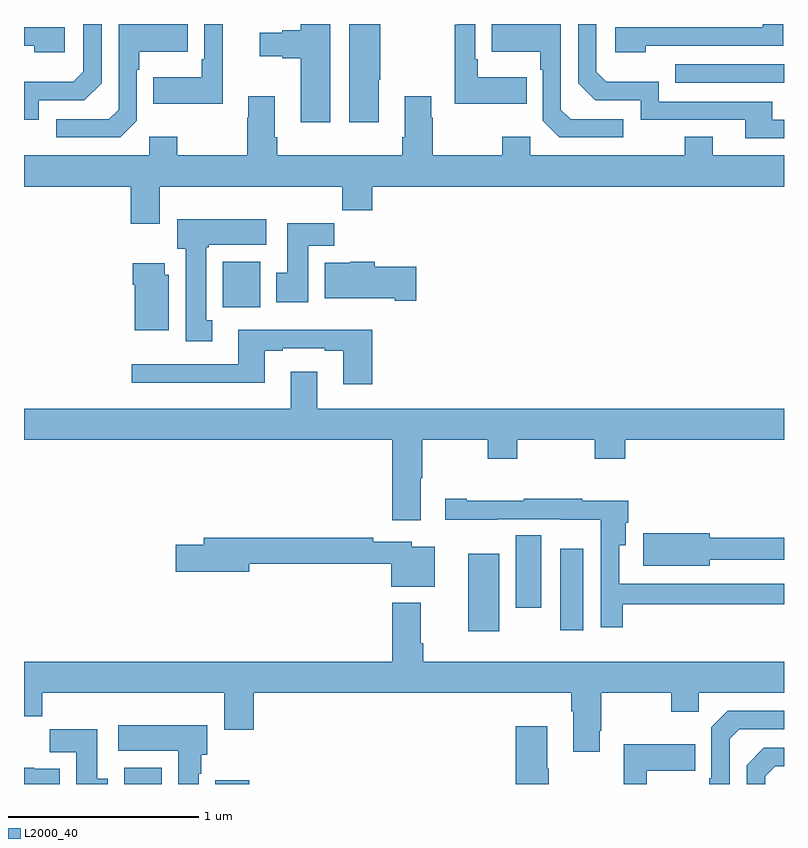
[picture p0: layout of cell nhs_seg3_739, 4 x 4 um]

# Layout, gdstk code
import gdstk
lib = gdstk.Library(unit=1e-6, precision=1e-09)
def R(c, l, rs):  # rectangles x0, y0, x1, y1
    for r in rs: c.add(gdstk.rectangle(r[:2], r[2:], *l))
def P(c, l, *ps):  # polygons
    for p in ps: c.add(gdstk.Polygon(p, *l))
L2000_40 = (2000, 40)

nhs_seg3_739 = lib.new_cell('nhs_seg3_739')
R(nhs_seg3_739, L2000_40, [(147.527,736.4,147.724,736.486), (148.007,736.4,148.186,736.42), (149.339,737.205,149.5,737.611), (149.822,737.208,149.944,737.638), (149.588,737.328,149.722,737.708), (148.046,738.908,148.243,739.15), (150.427,740.091,151,740.187)])
P(nhs_seg3_739, L2000_40, [(149.645,740.119),(149.389,740.119),(149.389,740.215),(149.376,740.215),(149.376,740.4),(149.279,740.4),(149.279,740.395),(149.268,740.395),(149.268,739.979),(149.645,739.979)],
  [(150.272,740.286),(150.996,740.286),(150.996,740.4),(150.887,740.4),(150.887,740.382),(150.111,740.382),(150.111,740.252),(150.272,740.252)],
  [(148.046,740.4),(147.948,740.4),(147.948,740.215),(147.936,740.215),(147.936,740.119),(147.679,740.119),(147.679,739.979),(148.046,739.979)],
  [(147.078,739.998),(147.318,739.998),(147.408,740.088),(147.408,740.4),(147.312,740.4),(147.312,740.148),(147.259,740.095),(147,740.095),(147,739.896),(147.078,739.896)],
  [(148.612,740.4),(148.457,740.4),(148.457,740.366),(148.358,740.366),(148.358,740.353),(148.242,740.353),(148.242,740.231),(148.358,740.231),(148.358,740.219),(148.457,740.219),(148.457,739.884),(148.612,739.884)],
  [(151,739.896),(150.937,739.896),(150.937,739.992),(150.342,739.992),(150.342,740.095),(150.065,740.095),(150.012,740.148),(150.012,740.4),(149.916,740.4),(149.916,740.088),(150.006,739.998),(150.246,739.998),(150.246,739.896),(150.797,739.896),(150.797,739.8),(151,739.8)],
  [(148.867,740.107),(148.875,740.107),(148.875,740.4),(148.712,740.4),(148.712,739.884),(148.867,739.884)],
  [(147.594,739.89),(147.594,740.159),(147.607,740.159),(147.607,740.255),(147.863,740.255),(147.863,740.4),(147.498,740.4),(147.498,739.95),(147.447,739.899),(147.171,739.899),(147.171,739.803),(147.507,739.803)],
  [(150.154,739.899),(149.877,739.899),(149.826,739.95),(149.826,740.4),(149.461,740.4),(149.461,740.255),(149.718,740.255),(149.718,740.159),(149.73,740.159),(149.73,739.89),(149.817,739.803),(150.154,739.803)],
  [(147.214,740.382),(147,740.382),(147,740.286),(147.053,740.286),(147.053,740.252),(147.214,740.252)],
  [(147.715,739.544),(148.675,739.544),(148.675,739.42),(148.832,739.42),(148.832,739.544),(151,739.544),(151,739.708),(150.625,739.708),(150.625,739.807),(150.478,739.807),(150.478,739.708),(149.664,739.708),(149.664,739.807),(149.518,739.807),(149.518,739.708),(149.151,739.708),(149.151,739.907),(149.143,739.907),(149.143,740.02),(149.003,740.02),(149.003,739.804),(148.991,739.804),(148.991,739.708),(148.334,739.708),(148.334,739.804),(148.321,739.804),(148.321,740.02),(148.181,740.02),(148.181,739.907),(148.174,739.907),(148.174,739.708),(147.807,739.708),(147.807,739.807),(147.66,739.807),(147.66,739.708),(147,739.708),(147,739.544),(147.563,739.544),(147.563,739.35),(147.715,739.35)],
  [(147.991,738.842),(147.958,738.842),(147.958,739.225),(147.972,739.225),(147.972,739.238),(148.276,739.238),(148.276,739.372),(147.806,739.372),(147.806,739.218),(147.851,739.218),(147.851,738.729),(147.991,738.729)],
  [(148.495,739.232),(148.634,739.232),(148.634,739.351),(148.385,739.351),(148.385,739.092),(148.328,739.092),(148.328,738.936),(148.495,738.936)],
  [(149.065,739.122),(148.847,739.122),(148.847,739.15),(148.716,739.15),(148.716,739.144),(148.583,739.144),(148.583,738.956),(148.952,738.956),(148.952,738.944),(149.065,738.944)],
  [(147.763,739.08),(147.742,739.08),(147.742,739.141),(147.572,739.141),(147.572,739.028),(147.584,739.028),(147.584,738.788),(147.763,738.788)],
  [(148.832,738.79),(148.127,738.79),(148.127,738.609),(147.567,738.609),(147.567,738.512),(148.267,738.512),(148.267,738.681),(148.363,738.681),(148.363,738.693),(148.583,738.693),(148.583,738.681),(148.679,738.681),(148.679,738.504),(148.832,738.504)],
  [(149.089,738.008),(149.097,738.008),(149.097,738.212),(149.44,738.212),(149.44,738.113),(149.595,738.113),(149.595,738.212),(150.004,738.212),(150.004,738.113),(150.164,738.113),(150.164,738.212),(151,738.212),(151,738.376),(148.543,738.376),(148.543,738.571),(148.403,738.571),(148.403,738.376),(147,738.376),(147,738.212),(148.937,738.212),(148.937,737.787),(149.089,737.787)],
  [(150.152,737.346),(151,737.346),(151,737.454),(150.132,737.454),(150.132,737.657),(150.166,737.657),(150.166,737.774),(150.179,737.774),(150.179,737.892),(149.939,737.892),(149.939,737.902),(149.629,737.902),(149.629,737.892),(149.329,737.892),(149.329,737.902),(149.217,737.902),(149.217,737.792),(149.492,737.792),(149.492,737.793),(149.826,737.793),(149.826,737.792),(150.036,737.792),(150.036,737.226),(150.152,737.226)],
  [(150.61,737.58),(151,737.58),(151,737.696),(150.61,737.696),(150.61,737.72),(150.258,737.72),(150.258,737.549),(150.61,737.549)],
  [(149.161,737.65),(149.04,737.65),(149.04,737.676),(148.838,737.676),(148.838,737.696),(147.947,737.696),(147.947,737.66),(147.798,737.66),(147.798,737.518),(148.186,737.518),(148.186,737.56),(148.934,737.56),(148.934,737.438),(149.161,737.438)],
  [(150.031,736.681),(150.039,736.681),(150.039,736.88),(150.406,736.88),(150.406,736.781),(150.552,736.781),(150.552,736.88),(151,736.88),(151,737.044),(149.102,737.044),(149.102,737.14),(149.089,737.14),(149.089,737.353),(148.937,737.353),(148.937,737.044),(147,737.044),(147,736.756),(147.095,736.756),(147.095,736.88),(148.055,736.88),(148.055,736.686),(148.208,736.686),(148.208,736.88),(149.879,736.88),(149.879,736.784),(149.891,736.784),(149.891,736.569),(150.031,736.569)],
  [(150.714,736.638),(150.765,736.689),(151,736.689),(151,736.785),(150.705,736.785),(150.618,736.698),(150.618,736.429),(150.606,736.429),(150.606,736.4),(150.714,736.4)],
  [(147.919,736.454),(147.934,736.454),(147.934,736.554),(147.964,736.554),(147.964,736.708),(147.495,736.708),(147.495,736.574),(147.812,736.574),(147.812,736.4),(147.919,736.4)],
  [(149.763,736.481),(149.755,736.481),(149.755,736.705),(149.588,736.705),(149.588,736.4),(149.763,736.4)],
  [(147.442,736.428),(147.385,736.428),(147.385,736.687),(147.136,736.687),(147.136,736.568),(147.275,736.568),(147.275,736.4),(147.442,736.4)],
  [(150.277,736.469),(150.533,736.469),(150.533,736.609),(150.156,736.609),(150.156,736.4),(150.277,736.4)],
  [(150.9,736.44),(150.953,736.493),(151,736.493),(151,736.59),(150.894,736.59),(150.804,736.5),(150.804,736.4),(150.9,736.4)],
  [(147.187,736.48),(147.054,736.48),(147.054,736.486),(147,736.486),(147,736.4),(147.187,736.4)])

lib.write_gds('nhs_seg3_739.gds')
